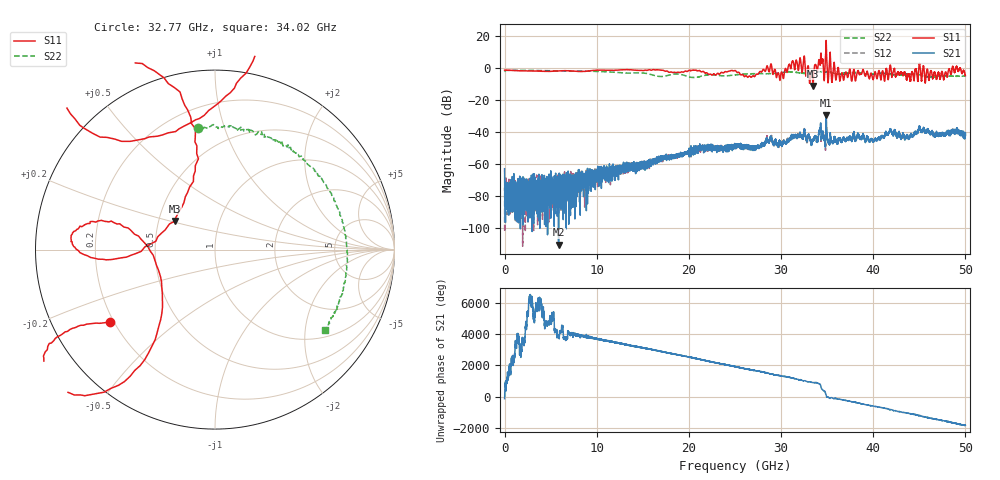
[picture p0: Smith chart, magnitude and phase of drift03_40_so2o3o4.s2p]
!Created with skrf (http://scikit-rf.org).
# Hz S RI R 50.0
!freq ReS11 ImS11 ReS21 ImS21 ReS12 ImS12 ReS22 ImS22
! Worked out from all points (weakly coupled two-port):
!   10001 points, 300 kHz to 50 GHz, reference 50 ohm
!   highest |S21| = -29.39 dB at 34.89 GHz (marker M1); lowest = -110.1 dB at 5.855 GHz (marker M2)
!   lowest |S11| = -11.2 dB at 33.47 GHz (marker M3), VSWR 1.76, Z = 30.4 + j10.4 ohm
!   |S11| at or under -10 dB: 33.44808 GHz to 33.48553 GHz (37.45 MHz wide, 0.112 % of centre)
!   |S22| runs from -5.9 to -1.3 dB; largest |S21 - S12| = 0.0062
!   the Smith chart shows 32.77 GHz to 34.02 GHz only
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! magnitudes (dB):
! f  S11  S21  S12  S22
! 300 kHz  -1.3  -62.8  -76.8  -2.0
! 325.3 MHz  -1.3  -76.9  -79.4  -1.4
! 5.855 GHz  -1.8  -110.1  -75.9  -1.7
! 8.335 GHz  -2.2  -70.1  -64.3  -1.9
! 16.67 GHz  -1.1  -57.1  -56.8  -5.2
! 25 GHz  -1.5  -48.9  -48.2  -4.3
! 26.92 GHz  -4.9  -48.6  -49.5  -3.5
! 28.73 GHz  -2.2  -44.8  -45.9  -3.5
! 30.06 GHz  -2.5  -47.5  -47.3  -2.8
! 31.87 GHz  -1.4  -41.6  -41.4  -2.9
! 33.34 GHz  -2.1  -47.0  -47.4  -2.9
! 33.47 GHz  -11.2  -44.9  -44.8  -2.8
! 34.3 GHz  7.6  -34.2  -34.8  -2.3
! 34.89 GHz  17.2  -29.4  -30.9  -2.3
! 36.58 GHz  -3.5  -46.1  -45.9  -3.6
! 40.17 GHz  -2.6  -44.6  -44.2  -3.7
! 41.67 GHz  -5.5  -40.6  -40.4  -3.7
! 43.84 GHz  -3.5  -43.3  -43.7  -3.9
! 45.19 GHz  -5.4  -39.2  -38.5  -4.5
! 47.06 GHz  -2.7  -41.5  -41.7  -5.0
! 49.21 GHz  -2.0  -40.0  -40.3  -5.2
! 50 GHz  -4.7  -41.8  -41.5  -5.0
